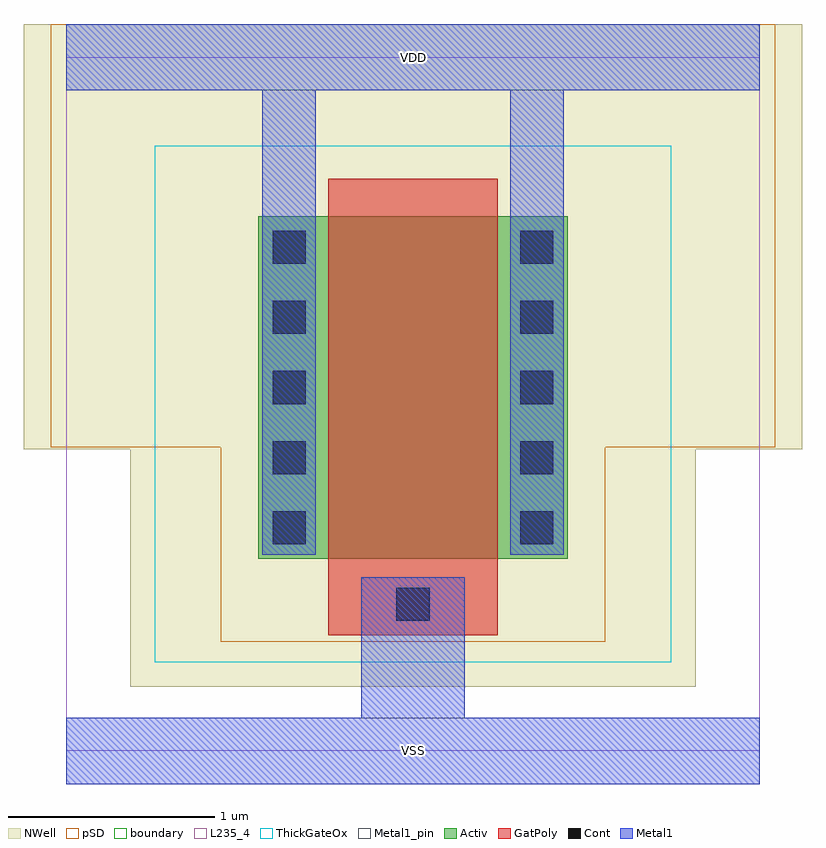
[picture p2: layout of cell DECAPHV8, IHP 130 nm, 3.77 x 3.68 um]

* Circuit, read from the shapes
.subckt DECAPHV8 VDD VSS
XM1 VDD VSS VDD n1 sg13_hv_pmos w=1.66u l=0.82u
.ends

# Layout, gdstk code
import gdstk
lib = gdstk.Library(unit=1e-6, precision=1e-09)
def R(c, l, rs):  # rectangles x0, y0, x1, y1
    for r in rs: c.add(gdstk.rectangle(r[:2], r[2:], *l))
def A(c, l, x, y, w, h, nx, ny, dx, dy):  # array of equal rectangles
    R(c, l, [(x+i*dx, y+j*dy, x+i*dx+w, y+j*dy+h) for i in range(nx) for j in range(ny)])
Activ = (1, 0)
GatPoly = (5, 0)
Cont = (6, 0)
Metal1 = (8, 0)
Metal1_pin = (8, 2)
pSD = (14, 0)
NWell = (31, 0)
ThickGateOx = (44, 0)
boundary = (189, 4)
L235_4 = (235, 4)

decaphv8 = lib.new_cell('DECAPHV8')
R(decaphv8, Activ, [(0.93,0.93,2.43,2.59)])
R(decaphv8, GatPoly, [(1.27,0.56,2.09,2.77)])
A(decaphv8, Cont, 1, 1, 0.16, 0.16, 1, 5, 0, 0.34)
A(decaphv8, Cont, 2.2, 1, 0.16, 0.16, 1, 5, 0, 0.34)
R(decaphv8, Cont, [(1.6,0.63,1.76,0.79)])
R(decaphv8, Metal1, [(0,-0.16,3.36,0.16), (1.43,0.16,1.93,0.84), (0.95,0.95,1.21,3.2), (2.15,0.95,2.41,3.2), (0,3.2,3.36,3.52)])
R(decaphv8, Metal1_pin, [(0,-0.16,3.36,0.16), (0,3.2,3.36,3.52)])
R(decaphv8, pSD, [(0.75,0.53,2.61,1.47), (-0.075,1.47,3.435,3.52)])
R(decaphv8, NWell, [(0.31,0.31,3.05,1.46), (-0.205,1.46,3.565,3.52)])
R(decaphv8, ThickGateOx, [(0.43,0.43,2.93,2.93)])
R(decaphv8, boundary, [(0,0,3.36,3.36)])
R(decaphv8, L235_4, [(0,0,3.36,3.36)])
decaphv8.add(gdstk.Label('VSS', (1.68,0), layer=8, texttype=25))
decaphv8.add(gdstk.Label('VDD', (1.68,3.36), layer=8, texttype=25))

lib.write_gds('DECAPHV8.gds')
